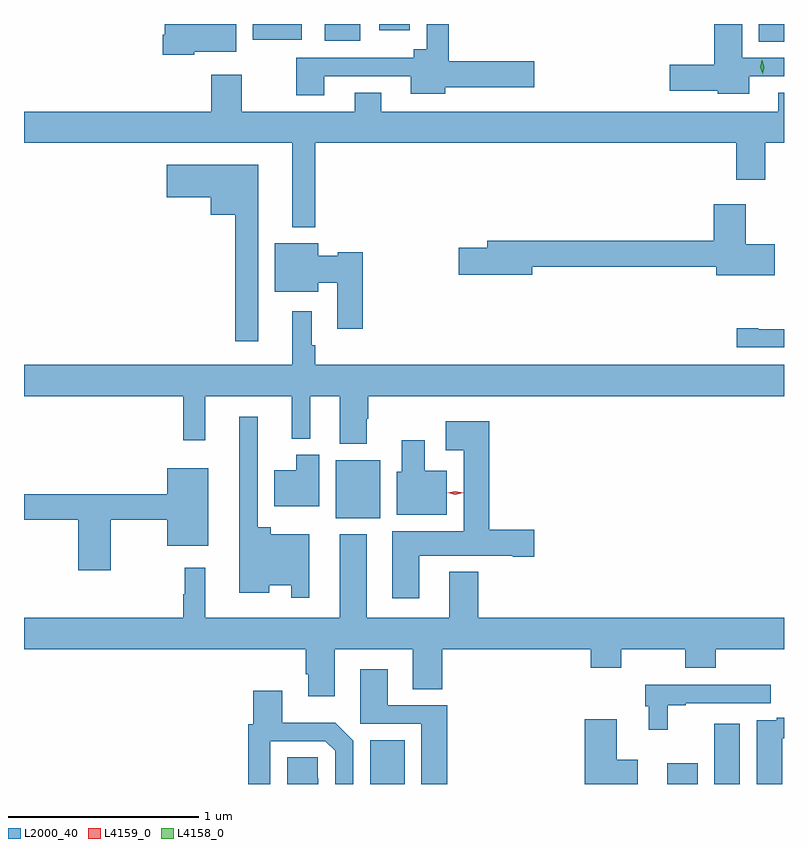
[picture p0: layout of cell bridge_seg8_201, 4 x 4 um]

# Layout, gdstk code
import gdstk
lib = gdstk.Library(unit=1e-6, precision=1e-09)
def R(c, l, rs):  # rectangles x0, y0, x1, y1
    for r in rs: c.add(gdstk.rectangle(r[:2], r[2:], *l))
def P(c, l, *ps):  # polygons
    for p in ps: c.add(gdstk.Polygon(p, *l))
L2000_40 = (2000, 40)
L4158_0 = (4158, 0)
L4159_0 = (4159, 0)

bridge_seg8_201 = lib.new_cell('bridge_seg8_201')
R(bridge_seg8_201, L2000_40, [(336.698,1113.126,336.88,1113.355), (338.261,1113.126,338.422,1113.235), (338.51,1113.126,338.644,1113.442), (336.518,1114.526,336.751,1114.831), (338.744,1117.033,338.876,1117.126), (336.458,1117.037,336.646,1117.126), (336.08,1117.043,336.337,1117.126), (336.746,1117.092,336.907,1117.126)])
P(bridge_seg8_201, L2000_40, [(336.457,1116.852),(336.911,1116.852),(336.911,1116.758),(337.093,1116.758),(337.093,1116.794),(337.561,1116.794),(337.561,1116.929),(337.112,1116.929),(337.112,1117.126),(336.996,1117.126),(336.996,1116.994),(336.926,1116.994),(336.926,1116.948),(336.31,1116.948),(336.31,1116.75),(336.457,1116.75)],
  [(335.772,1116.98),(335.992,1116.98),(335.992,1117.126),(335.618,1117.126),(335.618,1117.069),(335.606,1117.069),(335.606,1116.965),(335.772,1116.965)],
  [(338.692,1116.852),(338.876,1116.852),(338.876,1116.948),(338.656,1116.948),(338.656,1117.126),(338.51,1117.126),(338.51,1116.911),(338.274,1116.911),(338.274,1116.776),(338.526,1116.776),(338.526,1116.758),(338.692,1116.758)],
  [(336.409,1116.5),(338.624,1116.5),(338.624,1116.306),(338.776,1116.306),(338.776,1116.5),(338.876,1116.5),(338.876,1116.763),(338.846,1116.763),(338.846,1116.664),(336.757,1116.664),(336.757,1116.763),(336.617,1116.763),(336.617,1116.664),(336.021,1116.664),(336.021,1116.859),(335.861,1116.859),(335.861,1116.664),(334.876,1116.664),(334.876,1116.5),(336.287,1116.5),(336.287,1116.056),(336.409,1116.056)],
  [(336.109,1116.385),(335.628,1116.385),(335.628,1116.215),(335.858,1116.215),(335.858,1116.122),(335.988,1116.122),(335.988,1115.457),(336.109,1115.457)],
  [(338.827,1115.967),(338.674,1115.967),(338.674,1116.178),(338.507,1116.178),(338.507,1115.984),(337.313,1115.984),(337.313,1115.948),(337.164,1115.948),(337.164,1115.806),(337.552,1115.806),(337.552,1115.848),(338.519,1115.848),(338.519,1115.804),(338.827,1115.804)],
  [(336.659,1115.924),(336.528,1115.924),(336.528,1115.906),(336.424,1115.906),(336.424,1115.971),(336.197,1115.971),(336.197,1115.717),(336.424,1115.717),(336.424,1115.764),(336.524,1115.764),(336.524,1115.523),(336.659,1115.523)],
  [(338.876,1115.52),(338.74,1115.52),(338.74,1115.525),(338.628,1115.525),(338.628,1115.424),(338.876,1115.424)],
  [(336.409,1115.435),(336.391,1115.435),(336.391,1115.614),(336.287,1115.614),(336.287,1115.332),(334.876,1115.332),(334.876,1115.168),(335.713,1115.168),(335.713,1114.935),(335.831,1114.935),(335.831,1115.168),(336.284,1115.168),(336.284,1114.943),(336.382,1114.943),(336.382,1115.168),(336.539,1115.168),(336.539,1114.916),(336.679,1114.916),(336.679,1115.048),(336.687,1115.048),(336.687,1115.168),(338.876,1115.168),(338.876,1115.332),(336.409,1115.332)],
  [(336.378,1114.441),(336.174,1114.441),(336.174,1114.477),(336.105,1114.477),(336.105,1115.059),(336.008,1115.059),(336.008,1114.133),(336.166,1114.133),(336.166,1114.172),(336.282,1114.172),(336.282,1114.107),(336.378,1114.107)],
  [(336.955,1114.328),(337.448,1114.328),(337.448,1114.321),(337.561,1114.321),(337.561,1114.463),(337.325,1114.463),(337.325,1115.035),(337.095,1115.035),(337.095,1114.883),(337.19,1114.883),(337.19,1114.456),(336.815,1114.456),(336.815,1114.104),(336.955,1114.104)],
  [(337.102,1114.774),(336.985,1114.774),(336.985,1114.936),(336.863,1114.936),(336.863,1114.77),(336.839,1114.77),(336.839,1114.544),(337.102,1114.544)],
  [(336.43,1114.858),(336.308,1114.858),(336.308,1114.777),(336.194,1114.777),(336.194,1114.589),(336.43,1114.589)],
  [(335.332,1114.516),(335.63,1114.516),(335.63,1114.379),(335.845,1114.379),(335.845,1114.789),(335.63,1114.789),(335.63,1114.652),(334.876,1114.652),(334.876,1114.516),(335.162,1114.516),(335.162,1114.251),(335.332,1114.251)],
  [(336.359,1113.703),(336.371,1113.703),(336.371,1113.588),(336.511,1113.588),(336.511,1113.836),(336.923,1113.836),(336.923,1113.625),(337.076,1113.625),(337.076,1113.836),(337.859,1113.836),(337.859,1113.737),(338.019,1113.737),(338.019,1113.836),(338.356,1113.836),(338.356,1113.737),(338.516,1113.737),(338.516,1113.836),(338.876,1113.836),(338.876,1114),(337.268,1114),(337.268,1114.243),(337.115,1114.243),(337.115,1114),(336.679,1114),(336.679,1114.441),(336.539,1114.441),(336.539,1114),(335.83,1114),(335.83,1114.264),(335.721,1114.264),(335.721,1114.124),(335.713,1114.124),(335.713,1114),(334.876,1114),(334.876,1113.836),(336.359,1113.836)],
  [(337.103,1113.54),(336.79,1113.54),(336.79,1113.73),(336.647,1113.73),(336.647,1113.444),(336.968,1113.444),(336.968,1113.126),(337.103,1113.126)],
  [(338.265,1113.54),(338.359,1113.54),(338.359,1113.552),(338.806,1113.552),(338.806,1113.648),(338.146,1113.648),(338.146,1113.534),(338.165,1113.534),(338.165,1113.411),(338.265,1113.411)],
  [(336.171,1113.351),(336.462,1113.351),(336.513,1113.3),(336.513,1113.126),(336.609,1113.126),(336.609,1113.354),(336.515,1113.448),(336.235,1113.448),(336.235,1113.616),(336.083,1113.616),(336.083,1113.441),(336.055,1113.441),(336.055,1113.126),(336.171,1113.126)],
  [(338.866,1113.366),(338.876,1113.366),(338.876,1113.475),(338.837,1113.475),(338.837,1113.462),(338.732,1113.462),(338.732,1113.126),(338.866,1113.126)],
  [(338.107,1113.253),(337.996,1113.253),(337.996,1113.466),(337.826,1113.466),(337.826,1113.126),(338.107,1113.126)],
  [(336.424,1113.155),(336.423,1113.155),(336.423,1113.266),(336.261,1113.266),(336.261,1113.126),(336.424,1113.126)])
P(bridge_seg8_201, L4158_0, [(338.763,1116.864),(338.763,1116.864),(338.752,1116.899),(338.76,1116.934),(338.761,1116.934),(338.761,1116.934),(338.772,1116.899),(338.763,1116.864)])
P(bridge_seg8_201, L4159_0, [(337.147,1114.648),(337.106,1114.658),(337.106,1114.658),(337.106,1114.658),(337.147,1114.668),(337.188,1114.658),(337.188,1114.658),(337.188,1114.658)])

lib.write_gds('bridge_seg8_201.gds')
